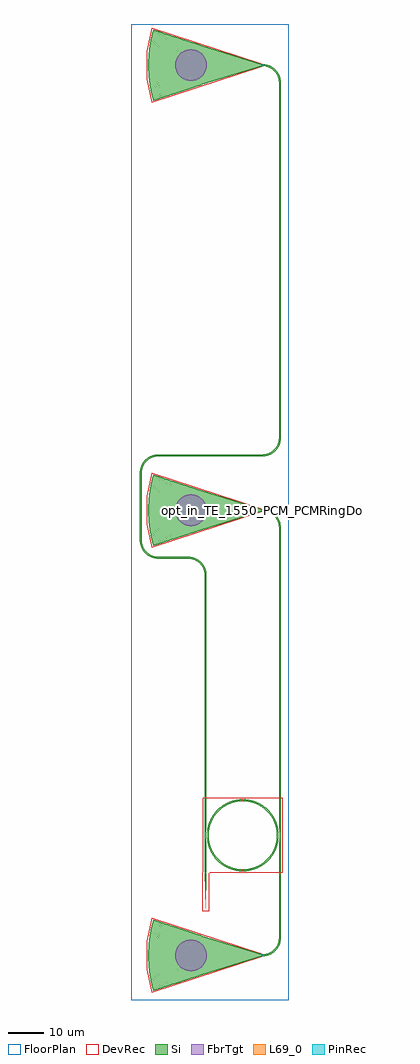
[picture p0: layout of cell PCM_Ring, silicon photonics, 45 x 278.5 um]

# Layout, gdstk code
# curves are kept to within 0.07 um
from math import pi, radians
import gdstk
lib = gdstk.Library(unit=1e-6, precision=1e-09)
def R(c, l, rs):  # rectangles x0, y0, x1, y1
    for r in rs: c.add(gdstk.rectangle(r[:2], r[2:], *l))
def P(c, l, *ps):  # polygons
    for p in ps: c.add(gdstk.Polygon(p, *l))
Si = (1, 0)
PinRec = (1, 10)
DevRec = (68, 0)
L69_0 = (69, 0)
FbrTgt = (81, 0)
FloorPlan = (99, 0)

directionalcoupler_halfr = lib.new_cell('DirectionalCoupler_HalfRing_Straight')
R(directionalcoupler_halfr, Si, [(-10.75,-0.25,10.75,0.25)])
P(directionalcoupler_halfr, Si, [(0,0.35),(-1.03,0.402),(-2.05,0.557),(-3.049,0.814),(-4.018,1.17),(-4.945,1.622),(-5.823,2.164),(-7.248,3.352),(-8.436,4.777),(-8.978,5.655),(-9.43,6.582),(-9.786,7.551),(-10.043,8.55),(-10.198,9.57),(-10.25,10.6),(-9.75,10.6),(-9.701,9.62),(-9.512,8.458),(-9.248,7.512),(-8.809,6.42),(-8.024,5.061),(-6.894,3.706),(-5.539,2.576),(-4.18,1.791),(-3.088,1.352),(-2.142,1.088),(-0.98,0.899),(0,0.85)],
  [(0,0.35),(0,0.85),(0.98,0.899),(2.142,1.088),(3.088,1.352),(4.18,1.791),(5.539,2.576),(6.894,3.706),(8.024,5.061),(8.809,6.42),(9.248,7.512),(9.512,8.458),(9.701,9.62),(9.75,10.6),(10.25,10.6),(10.198,9.57),(10.043,8.55),(9.786,7.551),(9.43,6.582),(8.978,5.655),(8.436,4.777),(7.248,3.352),(5.823,2.164),(4.945,1.622),(4.018,1.17),(3.049,0.814),(2.05,0.557),(1.03,0.402)])
R(directionalcoupler_halfr, DevRec, [(-10.75,-0.75,10.75,10.6)])
directionalcoupler_halfr.add(gdstk.FlexPath([(-10,10.7),(-10,10.5)], 0.5, ends="flush", simple_path=True, layer=69, datatype=0))  # L69_0
directionalcoupler_halfr.add(gdstk.FlexPath([(10,10.7),(10,10.5)], 0.5, ends="flush", simple_path=True, layer=69, datatype=0))  # L69_0
directionalcoupler_halfr.add(gdstk.FlexPath([(-10.85,0),(-10.65,0)], 0.5, ends="flush", simple_path=True, layer=69, datatype=0))  # L69_0
directionalcoupler_halfr.add(gdstk.FlexPath([(10.65,0),(10.85,0)], 0.5, ends="flush", simple_path=True, layer=69, datatype=0))  # L69_0
directionalcoupler_halfr.add(gdstk.Label('pin2', (-10,10.6), layer=69, texttype=0))
directionalcoupler_halfr.add(gdstk.Label('pin4', (10,10.6), layer=69, texttype=0))
directionalcoupler_halfr.add(gdstk.Label('pin1', (-10.75,0), layer=69, texttype=0))
directionalcoupler_halfr.add(gdstk.Label('pin3', (10.75,0), layer=69, texttype=0))
directionalcoupler_halfr.add(gdstk.Label('Lumerical_INTERCONNECT_library=Design kits/ebeam_v1.2', (2.5,0), layer=68, texttype=0))
directionalcoupler_halfr.add(gdstk.Label('Lumerical_INTERCONNECT_component=ebeam_dc_halfring_straight_te1550', (2.5,2.5), layer=68, texttype=0))
directionalcoupler_halfr.add(gdstk.Label('Spice_param:wg_width=0.500u gap=0.100u radius=10.000u Lc=0.000u', (2.5,5), layer=68, texttype=0))

ebeam_terminator_te1550 = lib.new_cell('ebeam_terminator_te1550')
P(ebeam_terminator_te1550, Si, [(0,-0.25),(-10,-0.03),(-10,0.03),(0,0.25)])
R(ebeam_terminator_te1550, DevRec, [(-10.9,-1,0,1)])
ebeam_terminator_te1550.add(gdstk.FlexPath([(-0.1,0),(0.1,0)], 0.5, ends="flush", simple_path=True, layer=1, datatype=10))  # PinRec
ebeam_terminator_te1550.add(gdstk.Label('S11 of -27 dB with perpendicular waveguide 1 micron away', (-0.1,0.6), layer=10, texttype=0))
ebeam_terminator_te1550.add(gdstk.Label('Component=ebeam_terminator_te1550', (-9,0), layer=68, texttype=0))
ebeam_terminator_te1550.add(gdstk.Label('Lumerical_INTERCONNECT_library=Design kits/ebeam', (-0.14,-0.51), layer=68, texttype=0))
ebeam_terminator_te1550.add(gdstk.Label('pin1', (0,0), layer=1, texttype=10))

te1550_subgc_neg31_oxide = lib.new_cell('TE1550_SubGC_neg31_oxide')
P(te1550_subgc_neg31_oxide, Si, [(-17.556,-5.704),(-17.743,-4.914),(-17.881,-4.233),(-18.016,-3.437),(-18.095,-2.866),(-18.165,-2.237),(-18.222,-1.549),(-18.256,-0.918),(-18.274,-0.115),(-18.264,0.689),(-18.233,1.377),(-18.176,2.122),(-18.095,2.866),(-18.016,3.437),(-17.881,4.233),(-17.743,4.914),(-17.556,5.704),(-17.481,5.68),(-17.643,5.006),(-17.784,4.329),(-17.922,3.536),(-18.032,2.74),(-18.104,2.056),(-18.148,1.486),(-18.186,0.686),(-18.196,0.114),(-18.189,-0.572),(-18.165,-1.2),(-18.123,-1.828),(-18.058,-2.512),(-17.948,-3.365),(-17.826,-4.102),(-17.668,-4.893),(-17.481,-5.68)],
  [(-17.906,-5.818),(-18.207,-4.492),(-18.452,-2.982),(-18.601,-1.405),(-18.643,-0.117),(-18.601,1.405),(-18.452,2.982),(-18.207,4.492),(-17.906,5.818),(-17.659,5.738),(-17.932,4.544),(-18.188,2.998),(-18.338,1.443),(-18.383,0.116),(-18.338,-1.443),(-18.188,-2.998),(-17.932,-4.544),(-17.659,-5.738)],
  [(-18.084,-5.876),(-18.24,-5.237),(-18.4,-4.479),(-18.525,-3.776),(-18.629,-3.071),(-18.717,-2.305),(-18.772,-1.656),(-18.811,-0.946),(-18.83,-0.118),(-18.823,0.592),(-18.791,1.36),(-18.739,2.069),(-18.644,2.953),(-18.544,3.658),(-18.4,4.479),(-18.24,5.237),(-18.084,5.876),(-18.01,5.852),(-18.204,5.041),(-18.368,4.227),(-18.503,3.409),(-18.609,2.589),(-18.713,1.354),(-18.745,0.589),(-18.752,0.118),(-18.745,-0.589),(-18.713,-1.354),(-18.609,-2.589),(-18.503,-3.409),(-18.368,-4.227),(-18.204,-5.041),(-18.01,-5.852)],
  [(-18.435,-5.99),(-18.77,-4.506),(-19.001,-3.071),(-19.135,-1.748),(-19.199,-0.121),(-19.159,1.387),(-19.001,3.071),(-18.77,4.506),(-18.435,5.99),(-18.188,5.91),(-18.517,4.445),(-18.744,3.029),(-18.896,1.427),(-18.939,0.119),(-18.896,-1.427),(-18.759,-2.911),(-18.517,-4.445),(-18.188,-5.91)],
  [(-18.613,-6.048),(-18.815,-5.211),(-18.963,-4.49),(-19.099,-3.705),(-19.201,-2.979),(-19.269,-2.373),(-19.338,-1.522),(-19.369,-0.913),(-19.386,-0.122),(-19.377,0.67),(-19.349,1.339),(-19.286,2.191),(-19.201,2.979),(-19.099,3.705),(-18.963,4.49),(-18.815,5.211),(-18.613,6.048),(-18.539,6.024),(-18.713,5.309),(-18.876,4.532),(-19.013,3.751),(-19.131,2.907),(-19.203,2.242),(-19.264,1.455),(-19.291,0.91),(-19.308,0.121),(-19.299,-0.667),(-19.271,-1.334),(-19.239,-1.819),(-19.166,-2.605),(-19.076,-3.329),(-18.91,-4.352),(-18.753,-5.13),(-18.539,-6.024)],
  [(-18.964,-6.162),(-19.262,-4.881),(-19.533,-3.283),(-19.689,-1.799),(-19.755,-0.124),(-19.717,1.365),(-19.573,2.974),(-19.334,4.513),(-18.964,6.162),(-18.717,6.081),(-19.046,4.636),(-19.301,3.057),(-19.43,1.775),(-19.495,0.122),(-19.454,-1.408),(-19.301,-3.057),(-19.046,-4.636),(-18.717,-6.081)],
  [(-19.142,-6.22),(-19.337,-5.421),(-19.48,-4.742),(-19.625,-3.936),(-19.726,-3.251),(-19.808,-2.566),(-19.884,-1.691),(-19.924,-0.94),(-19.942,-0.125),(-19.934,0.626),(-19.9,1.44),(-19.833,2.316),(-19.758,3.002),(-19.635,3.874),(-19.516,4.556),(-19.337,5.421),(-19.142,6.22),(-19.068,6.195),(-19.289,5.277),(-19.44,4.538),(-19.587,3.673),(-19.696,2.866),(-19.772,2.12),(-19.822,1.435),(-19.853,0.749),(-19.864,0.125),(-19.853,-0.749),(-19.822,-1.435),(-19.772,-2.12),(-19.696,-2.866),(-19.587,-3.673),(-19.44,-4.538),(-19.289,-5.277),(-19.068,-6.195)],
  [(-19.493,-6.334),(-19.839,-4.829),(-20.107,-3.185),(-20.256,-1.658),(-20.311,-0.128),(-20.268,1.467),(-20.107,3.185),(-19.839,4.829),(-19.493,6.334),(-19.246,6.253),(-19.574,4.829),(-19.842,3.207),(-19.997,1.637),(-20.051,0.126),(-20.005,-1.511),(-19.866,-3.019),(-19.622,-4.581),(-19.246,-6.253)],
  [(-19.671,-6.391),(-19.843,-5.697),(-20.008,-4.937),(-20.149,-4.173),(-20.283,-3.278),(-20.379,-2.444),(-20.438,-1.738),(-20.482,-0.901),(-20.498,-0.129),(-20.482,0.901),(-20.438,1.738),(-20.379,2.444),(-20.283,3.278),(-20.149,4.173),(-20.008,4.937),(-19.843,5.697),(-19.671,6.391),(-19.597,6.367),(-19.797,5.55),(-20.005,4.538),(-20.153,3.648),(-20.246,2.946),(-20.325,2.179),(-20.373,1.539),(-20.404,0.898),(-20.42,0.128),(-20.412,-0.641),(-20.384,-1.347),(-20.336,-2.051),(-20.261,-2.819),(-20.153,-3.648),(-20.017,-4.474),(-19.825,-5.424),(-19.597,-6.367)],
  [(-20.022,-6.505),(-20.392,-4.896),(-20.656,-3.272),(-20.81,-1.704),(-20.867,-0.131),(-20.81,1.704),(-20.656,3.272),(-20.392,4.896),(-20.022,6.505),(-19.774,6.425),(-20.139,4.835),(-20.382,3.36),(-20.542,1.812),(-20.607,0.129),(-20.567,-1.424),(-20.399,-3.231),(-20.139,-4.835),(-19.774,-6.425)],
  [(-20.199,-6.563),(-20.437,-5.591),(-20.599,-4.809),(-20.726,-4.089),(-20.832,-3.367),(-20.931,-2.511),(-20.992,-1.785),(-21.04,-0.86),(-21.054,-0.132),(-21.044,0.728),(-21.001,1.653),(-20.931,2.511),(-20.849,3.235),(-20.726,4.089),(-20.599,4.809),(-20.437,5.591),(-20.199,6.563),(-20.125,6.539),(-20.347,5.635),(-20.523,4.791),(-20.67,3.943),(-20.804,2.961),(-20.878,2.239),(-20.923,1.647),(-20.962,0.857),(-20.976,0.132),(-20.966,-0.725),(-20.935,-1.449),(-20.878,-2.239),(-20.804,-2.961),(-20.67,-3.943),(-20.523,-4.791),(-20.347,-5.635),(-20.125,-6.539)],
  [(-20.55,-6.677),(-20.906,-5.158),(-21.205,-3.359),(-21.355,-1.883),(-21.423,-0.135),(-21.373,1.615),(-21.205,3.359),(-20.906,5.158),(-20.55,6.677),(-20.303,6.597),(-20.705,4.833),(-20.957,3.252),(-21.105,1.728),(-21.163,0.133),(-21.105,-1.728),(-20.957,-3.252),(-20.705,-4.833),(-20.303,-6.597)],
  [(-20.728,-6.735),(-20.912,-6.004),(-21.101,-5.136),(-21.249,-4.331),(-21.372,-3.523),(-21.483,-2.577),(-21.546,-1.832),(-21.593,-0.95),(-21.61,-0.136),(-21.593,0.95),(-21.555,1.696),(-21.483,2.577),(-21.39,3.388),(-21.249,4.331),(-21.101,5.136),(-20.912,6.004),(-20.728,6.735),(-20.654,6.711),(-20.868,5.85),(-21.025,5.118),(-21.195,4.181),(-21.33,3.241),(-21.412,2.5),(-21.473,1.758),(-21.515,0.947),(-21.532,0.135),(-21.525,-0.609),(-21.497,-1.352),(-21.448,-2.095),(-21.37,-2.904),(-21.237,-3.913),(-21.077,-4.85),(-20.868,-5.85),(-20.654,-6.711)],
  [(-21.079,-6.849),(-21.432,-5.359),(-21.736,-3.583),(-21.923,-1.725),(-21.979,-0.138),(-21.923,1.725),(-21.772,3.308),(-21.473,5.155),(-21.079,6.849),(-20.832,6.769),(-21.207,5.162),(-21.47,3.608),(-21.664,1.705),(-21.719,0.136),(-21.664,-1.705),(-21.515,-3.269),(-21.207,-5.162),(-20.832,-6.769)],
  [(-21.257,-6.907),(-21.494,-5.953),(-21.655,-5.199),(-21.817,-4.304),(-21.93,-3.544),(-22.042,-2.574),(-22.105,-1.81),(-22.146,-1.044),(-22.166,-0.139),(-22.159,0.627),(-22.114,1.67),(-22.042,2.574),(-21.957,3.336),(-21.817,4.304),(-21.655,5.199),(-21.494,5.953),(-21.257,6.907),(-21.183,6.883),(-21.419,5.932),(-21.606,5.044),(-21.773,4.083),(-21.888,3.256),(-21.971,2.495),(-22.036,1.665),(-22.073,0.902),(-22.088,0.139),(-22.081,-0.624),(-22.052,-1.387),(-22.001,-2.149),(-21.905,-3.117),(-21.773,-4.083),(-21.606,-5.044),(-21.419,-5.932),(-21.183,-6.883)],
  [(-21.608,-7.021),(-21.985,-5.425),(-22.294,-3.603),(-22.482,-1.698),(-22.535,-0.142),(-22.482,1.698),(-22.294,3.603),(-21.985,5.425),(-21.608,7.021),(-21.361,6.941),(-21.761,5.224),(-22.028,3.631),(-22.218,1.749),(-22.275,0.14),(-22.227,-1.609),(-22.073,-3.283),(-21.788,-5.086),(-21.361,-6.941)],
  [(-21.786,-7.079),(-21.964,-6.381),(-22.167,-5.469),(-22.302,-4.765),(-22.469,-3.704),(-22.565,-2.923),(-22.649,-1.997),(-22.704,-0.999),(-22.722,-0.143),(-22.713,0.714),(-22.677,1.57),(-22.601,2.567),(-22.488,3.562),(-22.374,4.341),(-22.195,5.329),(-22.03,6.101),(-21.786,7.079),(-21.712,7.055),(-21.922,6.22),(-22.161,5.1),(-22.308,4.256),(-22.447,3.267),(-22.53,2.487),(-22.586,1.778),(-22.626,0.996),(-22.644,0.142),(-22.635,-0.711),(-22.595,-1.635),(-22.53,-2.487),(-22.447,-3.267),(-22.308,-4.256),(-22.161,-5.1),(-21.922,-6.22),(-21.712,-7.055)],
  [(-22.137,-7.193),(-22.54,-5.486),(-22.843,-3.692),(-23.011,-2.102),(-23.091,-0.145),(-23.045,1.595),(-22.862,3.547),(-22.54,5.486),(-22.137,7.193),(-21.89,7.112),(-22.287,5.425),(-22.596,3.579),(-22.777,1.721),(-22.831,0.143),(-22.777,-1.721),(-22.596,-3.579),(-22.287,-5.425),(-21.89,-7.112)],
  [(-22.315,-7.25),(-22.549,-6.321),(-22.736,-5.458),(-22.895,-4.592),(-23.047,-3.576),(-23.139,-2.776),(-23.218,-1.827),(-23.262,-0.951),(-23.278,-0.146),(-23.262,0.951),(-23.218,1.827),(-23.139,2.776),(-23.047,3.576),(-22.895,4.592),(-22.736,5.458),(-22.549,6.321),(-22.315,7.25),(-22.24,7.226),(-22.457,6.372),(-22.646,5.512),(-22.843,4.432),(-22.979,3.492),(-23.076,2.621),(-23.145,1.748),(-23.184,0.947),(-23.2,0.146),(-23.194,-0.583),(-23.158,-1.53),(-23.102,-2.33),(-23.006,-3.274),(-22.899,-4.071),(-22.73,-5.081),(-22.507,-6.157),(-22.24,-7.226)],
  [(-22.666,-7.364),(-23.095,-5.545),(-23.392,-3.78),(-23.581,-1.93),(-23.647,-0.149),(-23.586,1.856),(-23.421,3.559),(-23.095,5.545),(-22.666,7.364),(-22.418,7.284),(-22.842,5.484),(-23.145,3.666),(-23.311,2.056),(-23.387,0.147),(-23.336,-1.689),(-23.145,-3.666),(-22.842,-5.484),(-22.418,-7.284)],
  [(-22.843,-7.422),(-23.067,-6.545),(-23.262,-5.662),(-23.441,-4.701),(-23.556,-3.959),(-23.691,-2.842),(-23.762,-2.02),(-23.815,-1.048),(-23.834,-0.15),(-23.82,0.898),(-23.782,1.721),(-23.713,2.618),(-23.606,3.587),(-23.441,4.701),(-23.277,5.588),(-23.067,6.545),(-22.843,7.422),(-22.769,7.398),(-22.992,6.523),(-23.201,5.57),(-23.389,4.538),(-23.538,3.501),(-23.642,2.535),(-23.704,1.716),(-23.742,0.895),(-23.756,0.149),(-23.742,-0.895),(-23.704,-1.716),(-23.642,-2.535),(-23.565,-3.278),(-23.401,-4.464),(-23.23,-5.423),(-22.992,-6.523),(-22.769,-7.398)],
  [(-23.194,-7.536),(-23.605,-5.824),(-23.951,-3.793),(-24.135,-1.976),(-24.203,-0.152),(-24.15,1.748),(-23.961,3.718),(-23.605,5.824),(-23.194,7.536),(-22.947,7.456),(-23.368,5.688),(-23.684,3.827),(-23.876,1.955),(-23.943,0.15),(-23.886,-1.804),(-23.704,-3.678),(-23.383,-5.614),(-22.947,-7.456)],
  [(-23.372,-7.594),(-23.602,-6.696),(-23.802,-5.793),(-23.96,-4.962),(-24.115,-3.975),(-24.219,-3.137),(-24.316,-2.067),(-24.373,-0.996),(-24.39,-0.153),(-24.373,0.996),(-24.316,2.067),(-24.219,3.137),(-24.115,3.975),(-23.96,4.962),(-23.802,5.793),(-23.602,6.696),(-23.372,7.594),(-23.298,7.57),(-23.562,6.525),(-23.801,5.399),(-23.971,4.417),(-24.088,3.583),(-24.188,2.67),(-24.249,1.908),(-24.295,0.993),(-24.312,0.153),(-24.3,-0.84),(-24.263,-1.68),(-24.195,-2.594),(-24.088,-3.583),(-23.971,-4.417),(-23.801,-5.399),(-23.562,-6.525),(-23.298,-7.57)],
  [(-23.723,-7.708),(-24.145,-5.957),(-24.479,-4.035),(-24.678,-2.176),(-24.759,-0.156),(-24.709,1.71),(-24.5,3.88),(-24.145,5.957),(-23.723,7.708),(-23.476,7.628),(-23.908,5.819),(-24.233,3.916),(-24.43,2),(-24.499,0.154),(-24.43,-2),(-24.233,-3.916),(-23.908,-5.819),(-23.476,-7.628)],
  [(-23.901,-7.766),(-24.137,-6.848),(-24.358,-5.848),(-24.518,-4.997),(-24.674,-3.987),(-24.779,-3.13),(-24.87,-2.115),(-24.916,-1.332),(-24.946,-0.157),(-24.931,0.94),(-24.891,1.802),(-24.803,2.896),(-24.695,3.832),(-24.531,4.92),(-24.358,5.848),(-24.137,6.848),(-23.901,7.766),(-23.827,7.742),(-24.098,6.674),(-24.313,5.676),(-24.493,4.672),(-24.638,3.665),(-24.733,2.809),(-24.803,1.952),(-24.848,1.094),(-24.868,0.156),(-24.858,-0.781),(-24.818,-1.718),(-24.733,-2.809),(-24.638,-3.665),(-24.493,-4.672),(-24.313,-5.676),(-24.098,-6.674),(-23.827,-7.742)],
  [(-24.252,-7.88),(-24.717,-5.934),(-25.049,-3.967),(-25.232,-2.225),(-25.315,-0.159),(-25.259,1.828),(-25.07,3.809),(-24.717,5.934),(-24.252,7.88),(-24.005,7.8),(-24.464,5.873),(-24.782,4.005),(-24.973,2.202),(-25.055,0.157),(-25.009,-1.652),(-24.803,-3.848),(-24.464,-5.873),(-24.005,-7.8)],
  [(-24.43,-7.938),(-24.709,-6.843),(-24.866,-6.135),(-25.049,-5.187),(-25.234,-3.997),(-25.339,-3.12),(-25.424,-2.162),(-25.478,-1.202),(-25.502,-0.16),(-25.489,0.881),(-25.435,2.002),(-25.339,3.12),(-25.234,3.997),(-25.049,5.187),(-24.866,6.135),(-24.709,6.843),(-24.43,7.938),(-24.356,7.914),(-24.634,6.822),(-24.839,5.881),(-25,5.014),(-25.178,3.826),(-25.278,2.952),(-25.352,2.075),(-25.397,1.278),(-25.424,0.16),(-25.409,-0.958),(-25.377,-1.677),(-25.293,-2.792),(-25.198,-3.667),(-25.052,-4.697),(-24.839,-5.881),(-24.634,-6.822),(-24.356,-7.914)],
  [(-24.781,-8.052),(-25.241,-6.144),(-25.576,-4.216),(-25.803,-2.031),(-25.871,-0.163),(-25.803,2.031),(-25.609,3.974),(-25.274,5.984),(-24.781,8.052),(-24.533,7.971),(-24.972,6.161),(-25.308,4.253),(-25.544,2.01),(-25.611,0.161),(-25.544,-2.01),(-25.352,-3.934),(-25.021,-5.924),(-24.533,-7.971)],
  [(-24.959,-8.11),(-25.187,-7.232),(-25.423,-6.188),(-25.635,-5.057),(-25.772,-4.165),(-25.891,-3.188),(-25.984,-2.127),(-26.03,-1.31),(-26.058,-0.164),(-26.045,0.9),(-25.995,1.964),(-25.891,3.188),(-25.794,4.002),(-25.635,5.057),(-25.423,6.188),(-25.187,7.232),(-24.959,8.11),(-24.884,8.085),(-25.15,7.051),(-25.38,6.009),(-25.572,4.961),(-25.738,3.828),(-25.846,2.853),(-25.917,1.958),(-25.967,0.898),(-25.98,0.163),(-25.967,-0.898),(-25.932,-1.713),(-25.868,-2.609),(-25.768,-3.585),(-25.624,-4.638),(-25.412,-5.848),(-25.207,-6.811),(-24.884,-8.085)],
  [(-25.31,-8.224),(-25.815,-6.112),(-26.136,-4.224),(-26.357,-2.074),(-26.427,-0.166),(-26.368,1.909),(-26.18,3.894),(-25.815,6.112),(-25.31,8.224),(-25.062,8.143),(-25.512,6.295),(-25.868,4.264),(-26.098,2.054),(-26.167,0.164),(-26.123,-1.644),(-25.923,-3.856),(-25.562,-6.052),(-25.062,-8.143)],
  [(-25.487,-8.281),(-25.761,-7.222),(-25.946,-6.402),(-26.152,-5.33),(-26.321,-4.254),(-26.451,-3.173),(-26.532,-2.256),(-26.589,-1.254),(-26.614,-0.167),(-26.598,1.003),(-26.538,2.172),(-26.451,3.173),(-26.321,4.254),(-26.152,5.33),(-25.946,6.402),(-25.761,7.222),(-25.487,8.281),(-25.413,8.257),(-25.686,7.201),(-25.921,6.137),(-26.118,5.067),(-26.288,3.91),(-26.374,3.164),(-26.466,2.083),(-26.511,1.25),(-26.536,0.167),(-26.525,-0.834),(-26.482,-1.833),(-26.406,-2.831),(-26.288,-3.91),(-26.118,-5.067),(-25.921,-6.137),(-25.686,-7.201),(-25.413,-8.257)],
  [(-25.838,-8.395),(-26.339,-6.323),(-26.685,-4.312),(-26.887,-2.456),(-26.983,-0.17),(-26.917,2.033),(-26.708,4.144),(-26.356,6.24),(-25.838,8.395),(-25.591,8.315),(-26.086,6.263),(-26.44,4.188),(-26.658,2.014),(-26.723,0.168),(-26.658,-2.014),(-26.44,-4.188),(-26.086,-6.263),(-25.591,-8.315)],
  [(-26.016,-8.453),(-26.256,-7.539),(-26.503,-6.451),(-26.697,-5.441),(-26.858,-4.427),(-26.976,-3.494),(-27.086,-2.303),(-27.144,-1.28),(-27.17,-0.085),(-27.156,0.939),(-27.098,2.133),(-27.012,3.154),(-26.893,4.173),(-26.726,5.272),(-26.538,6.283),(-26.256,7.539),(-26.016,8.453),(-25.942,8.429),(-26.261,7.184),(-26.479,6.181),(-26.664,5.173),(-26.838,3.992),(-26.943,3.06),(-27.026,2.042),(-27.078,0.936),(-27.092,0.085),(-27.078,-0.936),(-27.026,-2.042),(-26.943,-3.06),(-26.838,-3.992),(-26.664,-5.173),(-26.479,-6.181),(-26.261,-7.184),(-25.942,-8.429)],
  [(-26.367,-8.567),(-26.897,-6.368),(-27.246,-4.315),(-27.466,-2.162),(-27.539,-0.087),(-27.466,2.162),(-27.246,4.315),(-26.897,6.368),(-26.367,8.567),(-26.12,8.487),(-26.644,6.308),(-26.989,4.275),(-27.218,1.97),(-27.279,0.086),(-27.218,-1.97),(-26.989,-4.275),(-26.644,-6.308),(-26.12,-8.487)],
  [(-26.545,-8.625),(-26.832,-7.522),(-27.079,-6.411),(-27.286,-5.294),(-27.442,-4.258),(-27.573,-3.132),(-27.658,-2.089),(-27.712,-0.958),(-27.726,-0.087),(-27.712,0.958),(-27.658,2.089),(-27.573,3.132),(-27.442,4.258),(-27.286,5.294),(-27.079,6.411),(-26.832,7.522),(-26.545,8.625),(-26.471,8.601),(-26.777,7.416),(-27.003,6.393),(-27.195,5.365),(-27.365,4.246),(-27.487,3.209),(-27.586,1.997),(-27.634,0.955),(-27.648,0.087),(-27.634,-0.955),(-27.586,-1.997),(-27.52,-2.863),(-27.42,-3.815),(-27.265,-4.935),(-27.071,-6.051),(-26.817,-7.246),(-26.63,-8.01),(-26.471,-8.601)],
  [(-26.896,-8.739),(-27.402,-6.67),(-27.783,-4.49),(-28.014,-2.293),(-28.095,-0.088),(-28.026,2.117),(-27.807,4.315),(-27.438,6.496),(-26.896,8.739),(-26.649,8.659),(-27.185,6.436),(-27.55,4.275),(-27.761,2.185),(-27.835,0.087),(-27.761,-2.185),(-27.55,-4.275),(-27.185,-6.436),(-26.649,-8.659)],
  [(-27.074,-8.797),(-27.346,-7.759),(-27.602,-6.627),(-27.802,-5.576),(-27.955,-4.608),(-28.098,-3.46),(-28.194,-2.397),(-28.255,-1.332),(-28.282,-0.089),(-28.265,1.066),(-28.218,2.042),(-28.134,3.106),(-28.015,4.167),(-27.832,5.4),(-27.62,6.539),(-27.346,7.759),(-27.074,8.797),(-27,8.773),(-27.292,7.651),(-27.544,6.521),(-27.77,5.297),(-27.949,4.067),(-28.048,3.186),(-28.129,2.214),(-28.184,1.152),(-28.204,0.089),(-28.187,-1.063),(-28.146,-1.948),(-28.073,-2.921),(-27.949,-4.067),(-27.77,-5.297),(-27.544,-6.521),(-27.292,-7.651),(-27,-8.773)],
  [(-27.425,-8.911),(-27.979,-6.624),(-28.344,-4.489),(-28.568,-2.339),(-28.651,-0.09),(-28.568,2.339),(-28.344,4.489),(-27.979,6.624),(-27.425,8.911),(-27.177,8.83),(-27.708,6.652),(-28.075,4.537),(-28.309,2.317),(-28.391,0.089),(-28.309,-2.317),(-28.075,-4.537),(-27.708,-6.652),(-27.177,-8.83)],
  [(-27.603,-8.969),(-27.881,-7.91),(-28.124,-6.845),(-28.347,-5.685),(-28.529,-4.518),(-28.678,-3.257),(-28.761,-2.264),(-28.814,-1.268),(-28.838,-0.091),(-28.826,0.906),(-28.761,2.264),(-28.678,3.257),(-28.529,4.518),(-28.347,5.685),(-28.124,6.845),(-27.881,7.91),(-27.603,8.969),(-27.528,8.944),(-27.806,7.889),(-28.085,6.649),(-28.316,5.402),(-28.476,4.327),(-28.582,3.428),(-28.677,2.348),(-28.736,1.265),(-28.76,0.09),(-28.748,-0.903),(-28.695,-2.077),(-28.609,-3.158),(-28.499,-4.147),(-28.331,-5.312),(-28.121,-6.472),(-27.87,-7.624),(-27.528,-8.944)],
  [(-27.953,-9.083),(-28.52,-6.752),(-28.893,-4.576),(-29.135,-2.201),(-29.207,-0.092),(-29.135,2.201),(-28.918,4.394),(-28.52,6.752),(-27.953,9.083),(-27.706,9.002),(-28.23,6.871),(-28.624,4.626),(-28.863,2.363),(-28.947,0.091),(-28.887,-2),(-28.649,-4.445),(-28.23,-6.871),(-27.706,-9.002)],
  [(-28.131,-9.14),(-28.416,-8.062),(-28.645,-7.068),(-28.86,-5.977),(-29.078,-4.605),(-29.221,-3.412),(-29.315,-2.307),(-29.373,-1.2),(-29.394,-0.092),(-29.373,1.2),(-29.315,2.307),(-29.221,3.412),(-29.078,4.605),(-28.86,5.977),(-28.645,7.068),(-28.416,8.062),(-28.131,9.14),(-28.057,9.116),(-28.363,7.951),(-28.663,6.596),(-28.892,5.323),(-29.061,4.136),(-29.179,3.036),(-29.255,2.025),(-29.301,1.013),(-29.316,0.092),(-29.301,-1.013),(-29.255,-2.025),(-29.179,-3.036),(-29.061,-4.136),(-28.892,-5.323),(-28.663,-6.596),(-28.363,-7.951),(-28.057,-9.116)],
  [(-28.482,-9.254),(-29.003,-7.156),(-29.416,-4.849),(-29.683,-2.336),(-29.763,-0.094),(-29.683,2.336),(-29.455,4.57),(-29.042,6.972),(-28.482,9.254),(-28.235,9.174),(-28.77,7.003),(-29.173,4.714),(-29.424,2.316),(-29.503,0.093),(-29.424,-2.316),(-29.173,-4.714),(-28.77,-7.003),(-28.235,-9.174)],
  [(-28.66,-9.312),(-28.928,-8.306),(-29.224,-7.016),(-29.421,-5.996),(-29.601,-4.879),(-29.733,-3.851),(-29.863,-2.445),(-29.925,-1.317),(-29.95,-0.094),(-29.937,0.941),(-29.882,2.163),(-29.792,3.289),(-29.64,4.599),(-29.437,5.904),(-29.224,7.016),(-28.928,8.306),(-28.66,9.312),(-28.586,9.288),(-28.898,8.101),(-29.148,6.998),(-29.393,5.703),(-29.563,4.587),(-29.696,3.467),(-29.798,2.251),(-29.847,1.314),(-29.872,0.094),(-29.862,-0.845),(-29.798,-2.251),(-29.696,-3.467),(-29.563,-4.587),(-29.393,-5.703),(-29.148,-6.998),(-28.898,-8.101),(-28.586,-9.288)],
  [(-29.011,-9.426),(-29.563,-7.196),(-29.965,-4.939),(-30.237,-2.38),(-30.319,-0.095),(-30.25,2.19),(-30.017,4.561),(-29.602,7.008),(-29.011,9.426),(-28.764,9.346),(-29.33,7.041),(-29.735,4.709),(-29.978,2.359),(-30.059,0.094),(-29.978,-2.359),(-29.735,-4.709),(-29.33,-7.041),(-28.764,-9.346)],
  [(-29.189,-9.484),(-29.554,-8.085),(-29.784,-7.052),(-29.999,-5.918),(-30.163,-4.874),(-30.295,-3.827),(-30.417,-2.49),(-30.484,-1.246),(-30.506,-0.096),(-30.484,1.246),(-30.417,2.49),(-30.295,3.827),(-30.163,4.874),(-29.999,5.918),(-29.784,7.052),(-29.554,8.085),(-29.189,9.484),(-29.115,9.46),(-29.456,8.158),(-29.708,7.034),(-29.97,5.62),(-30.125,4.577),(-30.248,3.532),(-30.346,2.388),(-30.406,1.242),(-30.428,0.096),(-30.406,-1.242),(-30.346,-2.388),(-30.248,-3.532),(-30.125,-4.577),(-29.97,-5.62),(-29.708,-7.034),(-29.456,-8.158),(-29.115,-9.46)],
  [(-29.54,-9.598),(-30.143,-7.137),(-30.554,-4.741),(-30.798,-2.327),(-30.875,-0.097),(-30.798,2.327),(-30.554,4.741),(-30.143,7.137),(-29.54,9.598),(-29.293,9.518),(-29.89,7.077),(-30.284,4.796),(-30.539,2.307),(-30.615,0.096),(-30.539,-2.307),(-30.284,-4.796),(-29.89,-7.077),(-29.293,-9.518)],
  [(-29.718,-9.656),(-29.997,-8.613),(-30.285,-7.371),(-30.493,-6.315),(-30.712,-4.963),(-30.857,-3.8),(-30.964,-2.633),(-31.036,-1.366),(-31.062,-0.098),(-31.046,1.073),(-30.991,2.243),(-30.897,3.411),(-30.752,4.673),(-30.561,5.929),(-30.345,7.084),(-30.044,8.422),(-29.718,9.656),(-29.643,9.632),(-29.969,8.401),(-30.269,7.066),(-30.501,5.818),(-30.7,4.468),(-30.829,3.306),(-30.907,2.335),(-30.965,1.168),(-30.984,0.097),(-30.965,-1.168),(-30.907,-2.335),(-30.829,-3.306),(-30.7,-4.468),(-30.501,-5.818),(-30.269,-7.066),(-29.969,-8.401),(-29.643,-9.632)],
  [(-30.069,-9.77),(-30.664,-7.362),(-31.09,-4.924),(-31.346,-2.467),(-31.431,-0.099),(-31.346,2.467),(-31.09,4.924),(-30.664,7.362),(-30.069,9.77),(-29.821,9.69),(-30.411,7.301),(-30.833,4.883),(-31.093,2.349),(-31.171,0.098),(-31.093,-2.349),(-30.833,-4.883),(-30.411,-7.301),(-29.821,-9.69)],
  [(-30.246,-9.828),(-30.603,-8.475),(-30.866,-7.308),(-31.107,-6.035),(-31.288,-4.855),(-31.43,-3.67),(-31.539,-2.382),(-31.595,-1.291),(-31.618,-0.099),(-31.595,1.291),(-31.539,2.382),(-31.43,3.67),(-31.288,4.855),(-31.107,6.035),(-30.866,7.308),(-30.603,8.475),(-30.246,9.828),(-30.172,9.804),(-30.528,8.455),(-30.77,7.387),(-30.907,6.705),(-31.047,5.922),(-31.211,4.843),(-31.342,3.759),(-31.461,2.377),(-31.517,1.288),(-31.54,0.099),(-31.529,-0.892),(-31.474,-2.179),(-31.391,-3.266),(-31.25,-4.548),(-31.047,-5.922),(-30.83,-7.095),(-30.528,-8.455),(-30.172,-9.804)],
  [(-30.597,-9.942),(-31.225,-7.393),(-31.625,-5.111),(-31.893,-2.611),(-31.987,-0.1),(-31.907,2.41),(-31.653,4.911),(-31.225,7.393),(-30.597,9.942),(-30.35,9.861),(-30.931,7.529),(-31.396,4.872),(-31.641,2.49),(-31.727,0.1),(-31.641,-2.49),(-31.396,-4.872),(-30.931,-7.529),(-30.35,-9.861)],
  [(-30.775,-9.999),(-31.09,-8.821),(-31.344,-7.734),(-31.564,-6.64),(-31.795,-5.241),(-31.95,-4.036),(-32.072,-2.727),(-32.129,-1.819),(-32.154,-1.213),(-32.174,-0.101),(-32.154,1.213),(-32.1,2.323),(-32.012,3.432),(-31.851,4.84),(-31.686,5.941),(-31.428,7.337),(-31.139,8.624),(-30.775,9.999),(-30.701,9.975),(-31.015,8.8),(-31.18,8.11),(-31.352,7.319),(-31.593,6.027),(-31.774,4.828),(-31.915,3.625),(-32.009,2.519),(-32.069,1.411),(-32.096,0.101),(-32.076,-1.21),(-32.009,-2.519),(-31.915,-3.625),(-31.774,-4.828),(-31.593,-6.027),(-31.352,-7.319),(-31.18,-8.11),(-31.015,-8.8),(-30.701,-9.975)],
  [(-31.126,-10.114),(-31.724,-7.722),(-32.174,-5.199),(-32.447,-2.656),(-32.543,-0.102),(-32.519,1.329),(-32.447,2.656),(-32.174,5.199),(-31.724,7.722),(-31.126,10.114),(-30.879,10.033),(-31.471,7.66),(-31.917,5.158),(-32.188,2.635),(-32.283,0.101),(-32.202,-2.433),(-31.959,-4.856),(-31.534,-7.361),(-31.244,-8.653),(-30.879,-10.033)],
  [(-17.378,-5.646),(-17.903,-2.893),(-18.087,-0.114),(-17.924,2.724),(-17.378,5.646),(0,0.25),(0,-0.25)])
te1550_subgc_neg31_oxide.add(gdstk.Label('Ref: Yun Wang, Optics Express, 08/2014', (-33,0), layer=10, texttype=0))
te1550_subgc_neg31_oxide.add(gdstk.Label('http://dx.doi.org/10.1364/OE.22.020652', (-33,-2), layer=10, texttype=0))
te1550_subgc_neg31_oxide.add(gdstk.Label('TE 1550 -31 deg', (-33,2), layer=10, texttype=0))

opticalfibre_9micron = lib.new_cell('OpticalFibre_9micron')
P(opticalfibre_9micron, FbrTgt, [(-0.221,-4.5),(-1.095,-4.37),(-1.926,-4.073),(-2.684,-3.619),(-3.338,-3.026),(-3.864,-2.316),(-4.242,-1.518),(-4.457,-0.661),(-4.5,0.221),(-4.37,1.095),(-4.073,1.926),(-3.619,2.684),(-3.026,3.338),(-2.316,3.864),(-1.518,4.242),(-0.661,4.457),(0.221,4.5),(1.095,4.37),(1.926,4.073),(2.684,3.619),(3.338,3.026),(3.864,2.316),(4.242,1.518),(4.457,0.661),(4.5,-0.221),(4.37,-1.095),(4.073,-1.926),(3.619,-2.684),(3.026,-3.338),(2.316,-3.864),(1.518,-4.242),(0.661,-4.457)])

ebeam_gc_te1550 = lib.new_cell('ebeam_gc_te1550')
R(ebeam_gc_te1550, Si, [(-0.001,-0.001,0.001,0.001)])
P(ebeam_gc_te1550, DevRec, [(-31.6,-10.7),(-33,-4),(-33,4),(-31.6,10.7),(0,0.4),(0,-0.4)])
ebeam_gc_te1550.add(gdstk.FlexPath([(-0.1,0),(0.1,0)], 0.5, ends="flush", simple_path=True, layer=1, datatype=10))  # PinRec
ebeam_gc_te1550.add(gdstk.Reference(te1550_subgc_neg31_oxide, (0,0)))
ebeam_gc_te1550.add(gdstk.Reference(opticalfibre_9micron, (-20.4,0)))
ebeam_gc_te1550.add(gdstk.Label('Component=ebeam_gc_te1550', (-28,-5), layer=68, texttype=0))
ebeam_gc_te1550.add(gdstk.Label('Lumerical_INTERCONNECT_library=Design kits/ebeam', (-29,-7), layer=68, texttype=0))
ebeam_gc_te1550.add(gdstk.Label('pin1', (0,0), layer=1, texttype=10))

round_path_49 = lib.new_cell('ROUND_PATH$49')
P(round_path_49, Si, [(16.2,-34.5),(16.2,-34),(17.044,-33.925),(17.945,-33.668),(18.665,-33.311),(19.414,-32.748),(19.874,-32.261),(20.329,-31.599),(20.618,-30.995),(20.849,-30.226),(20.95,-29.294),(20.95,-10.75),(21.45,-10.75),(21.45,-29.3),(21.338,-30.329),(21.083,-31.179),(20.688,-31.974),(20.165,-32.692),(19.528,-33.31),(18.797,-33.813),(17.991,-34.185),(17.133,-34.417)])

round_path_50 = lib.new_cell('ROUND_PATH$50')
P(round_path_50, Si, [(20.95,10.75),(20.94,88.063),(20.819,88.857),(20.567,89.619),(20.19,90.328),(19.606,91.061),(18.89,91.665),(18.069,92.117),(17.176,92.399),(16.2,92.5),(16.2,93),(17.133,92.917),(18.129,92.633),(18.924,92.238),(19.752,91.616),(20.442,90.844),(20.902,90.085),(21.269,89.117),(21.439,88.095),(21.45,10.75)])

round_path_40 = lib.new_cell('ROUND_PATH$40')
P(round_path_40, Si, [(-0.25,10.75),(-0.25,74.244),(-0.351,75.176),(-0.745,76.313),(-1.413,77.314),(-2.31,78.115),(-3.38,78.665),(-4.156,78.875),(-4.821,78.947),(-13.55,78.95),(-14.433,79.033),(-15.429,79.317),(-16.35,79.791),(-17.16,80.436),(-17.909,81.35),(-18.266,81.999),(-18.529,82.691),(-18.747,84.003),(-18.739,103.745),(-18.606,104.623),(-18.327,105.466),(-17.988,106.124),(-17.465,106.842),(-16.828,107.46),(-16.097,107.963),(-15.429,108.283),(-14.579,108.538),(-13.55,108.65),(16.646,108.671),(17.437,108.814),(18.069,109.033),(19.211,109.726),(19.698,110.186),(20.19,110.822),(20.75,112.034),(20.95,113.356),(20.947,214.929),(20.849,215.726),(20.618,216.495),(20.261,217.215),(19.787,217.864),(18.999,218.588),(18.192,219.062),(17.176,219.399),(16.2,219.5),(16.2,220),(16.545,219.989),(17.423,219.856),(18.401,219.516),(19.294,218.992),(19.964,218.41),(20.527,217.723),(21.027,216.816),(21.306,215.973),(21.447,214.947),(21.45,113.35),(21.391,112.613),(21.229,111.891),(20.902,111.065),(20.527,110.427),(20.066,109.848),(19.528,109.34),(18.924,108.912),(18.266,108.573),(17.423,108.294),(16.693,108.173),(-13.544,108.15),(-14.476,108.049),(-15.245,107.818),(-15.965,107.461),(-16.511,107.074),(-17.087,106.514),(-17.561,105.865),(-17.867,105.269),(-18.119,104.507),(-18.24,103.713),(-18.247,84.021),(-18.05,82.834),(-17.49,81.622),(-16.906,80.889),(-16.078,80.21),(-15.245,79.782),(-14.344,79.525),(-13.544,79.45),(-4.803,79.447),(-4.067,79.367),(-3.209,79.135),(-2.027,78.527),(-1.035,77.642),(-0.298,76.535),(-0.016,75.851),(0.167,75.133),(0.25,74.25),(0.25,10.75)])

pcm_ring = lib.new_cell('PCM_Ring')
R(pcm_ring, FloorPlan, [(0,0,45,278.5)])
pcm_ring.add(gdstk.Reference(directionalcoupler_halfr, (21.25,47), rotation=3*pi/2))
pcm_ring.add(gdstk.Reference(directionalcoupler_halfr, (42.45,47), rotation=pi/2))
pcm_ring.add(gdstk.Reference(ebeam_terminator_te1550, (21.25,36.25), rotation=pi/2))
r = gdstk.Reference(ebeam_gc_te1550, (37.45,12.75)); r.repetition = gdstk.Repetition(1, 3, v1=(0,0), v2=(0,127)); pcm_ring.add(r)
pcm_ring.add(gdstk.Reference(round_path_49, (21.25,47)))
pcm_ring.add(gdstk.Reference(round_path_50, (21.25,47)))
pcm_ring.add(gdstk.Reference(round_path_40, (21.25,47)))
pcm_ring.add(gdstk.Label('opt_in_TE_1550_PCM_PCMRingDoubleTER10g100', (37.45,139.75), layer=10, texttype=0))

lib.write_gds('PCM_Ring.gds')
